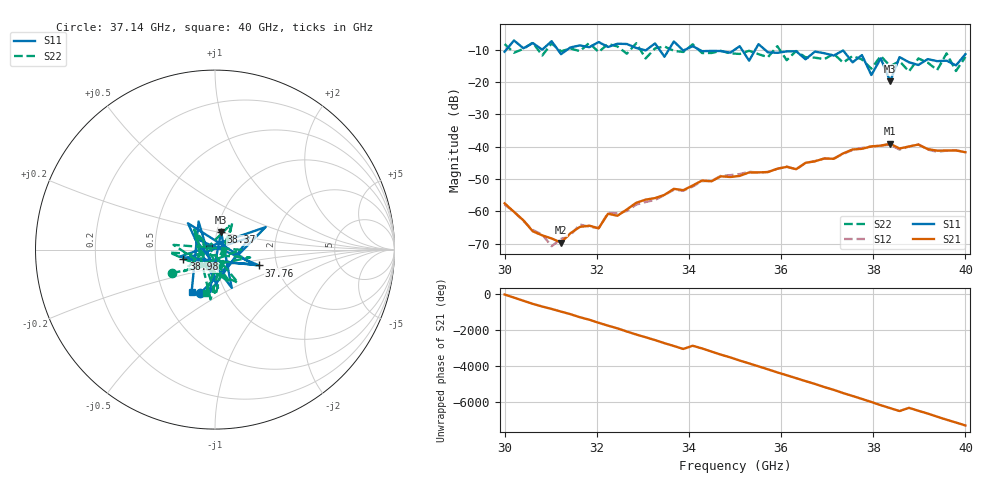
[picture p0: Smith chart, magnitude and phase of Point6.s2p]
! 10/2/2026 3:19:51 PM
! C:\ANRITSUVNA\TEMP\TEMP.S2P
! CHANNEL.1
! TR.MEASUREMENT
! RAW.DATA
# HZ S RI R 50.0
! FREQ.HZ  S11RE  S11IM  S21RE  S21IM  S12RE  S12IM  S22RE  S22IM
!; PortSelection: Port_12
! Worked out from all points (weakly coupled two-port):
!   50 points, 30 GHz to 40 GHz, reference 50 ohm
!   highest |S21| = -39.06 dB at 38.37 GHz (marker M1); lowest = -69.6 dB at 31.22 GHz (marker M2)
!   lowest |S11| = -19.7 dB at 38.37 GHz (marker M3), VSWR 1.23, Z = 52.5 + j10.3 ohm
!   |S11| at or under -10 dB: start of sweep to 30.03472 GHz; 34.23 GHz to 34.99 GHz (759.7 MHz wide, 2.2 % of centre); 35.65 GHz to end of sweep (the widest 3 of 8)
!   |S22| runs from -16.7 to -7.8 dB; largest |S21 - S12| = 0.013
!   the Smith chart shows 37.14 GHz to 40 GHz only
!   S11 on the Smith chart (normalised r, x): 37.14 GHz: 0.76, -0.40; 37.76 GHz: 1.62, -0.31; 38.37 GHz: 1.05, +0.21; 38.98 GHz: 0.70, -0.08; 40 GHz: 0.69, -0.36
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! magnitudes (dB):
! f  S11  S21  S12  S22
! 30 GHz  -10.6  -57.5  -57.9  -8.2
! 31.02 GHz  -7.3  -68.4  -70.7  -8.1
! 31.22 GHz  -11.4  -69.6  -68.5  -10.5
! 31.84 GHz  -9.2  -64.4  -64.8  -7.9
! 33.06 GHz  -10.2  -56.3  -57.1  -12.7
! 33.47 GHz  -12.1  -54.9  -54.9  -9.0
! 33.67 GHz  -7.4  -53.0  -53.3  -10.3
! 35.1 GHz  -8.9  -49.0  -48.4  -11.3
! 35.31 GHz  -13.4  -47.9  -47.7  -10.3
! 35.51 GHz  -8.3  -47.9  -48.0  -11.3
! 36.73 GHz  -10.6  -44.5  -44.4  -12.4
! 37.14 GHz  -11.8  -43.7  -43.6  -11.2
! 37.76 GHz  -11.6  -40.6  -40.4  -13.0
! 37.96 GHz  -17.8  -39.9  -39.8  -15.8
! 38.16 GHz  -12.7  -39.6  -39.7  -11.9
! 38.37 GHz  -19.7  -39.1  -39.3  -15.0
! 38.57 GHz  -12.3  -40.5  -40.9  -13.5
! 38.98 GHz  -14.7  -39.3  -39.2  -12.7
! 39.39 GHz  -13.5  -41.2  -41.6  -16.3
! 39.59 GHz  -13.4  -41.2  -41.2  -11.1
! 39.8 GHz  -14.8  -41.1  -41.1  -16.6
! 40 GHz  -11.3  -41.7  -41.7  -12.2
